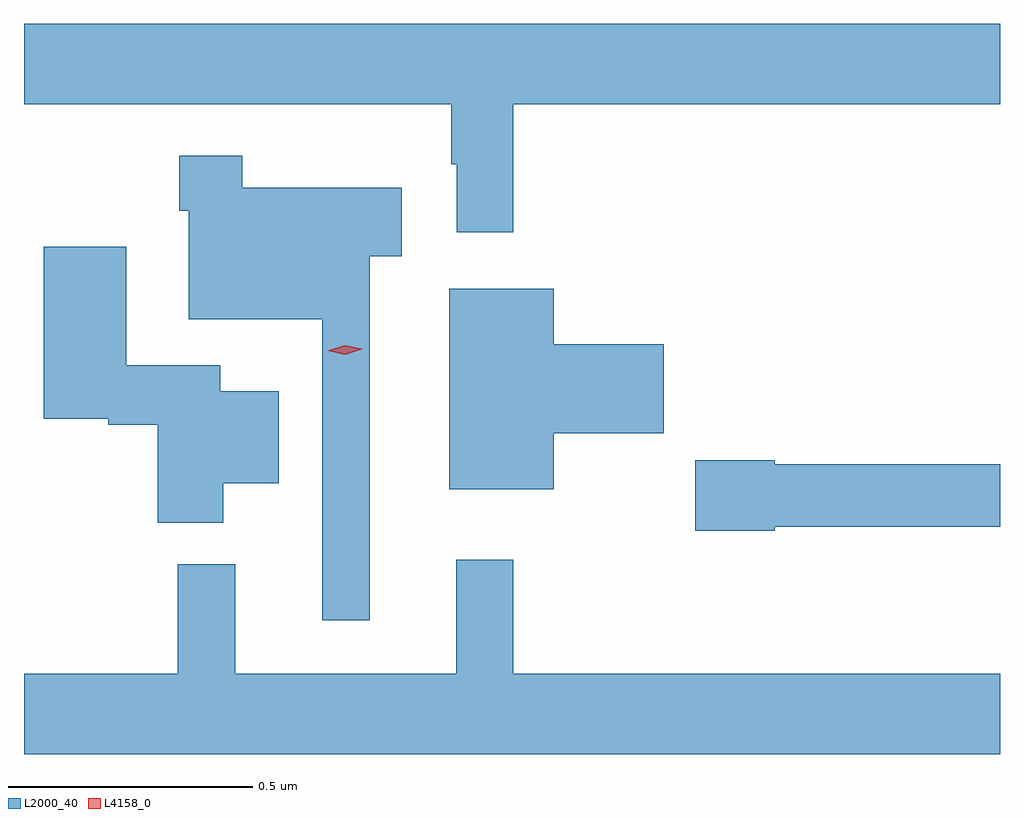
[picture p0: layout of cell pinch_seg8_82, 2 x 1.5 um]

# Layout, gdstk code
import gdstk
lib = gdstk.Library(unit=1e-6, precision=1e-09)
def P(c, l, *ps):  # polygons
    for p in ps: c.add(gdstk.Polygon(p, *l))
L2000_40 = (2000, 40)
L4158_0 = (4158, 0)

pinch_seg8_82 = lib.new_cell('pinch_seg8_82')
P(pinch_seg8_82, L2000_40, [(1017.887,1103.18),(1018.884,1103.18),(1018.884,1103.344),(1016.884,1103.344),(1016.884,1103.18),(1017.759,1103.18),(1017.759,1103.057),(1017.771,1103.057),(1017.771,1102.917),(1017.887,1102.917)],
  [(1017.592,1102.868),(1017.658,1102.868),(1017.658,1103.008),(1017.331,1103.008),(1017.331,1103.074),(1017.202,1103.074),(1017.202,1102.961),(1017.222,1102.961),(1017.222,1102.739),(1017.495,1102.739),(1017.495,1102.122),(1017.592,1102.122)],
  [(1017.292,1102.403),(1017.406,1102.403),(1017.406,1102.591),(1017.286,1102.591),(1017.286,1102.645),(1017.094,1102.645),(1017.094,1102.888),(1016.924,1102.888),(1016.924,1102.535),(1017.057,1102.535),(1017.057,1102.523),(1017.158,1102.523),(1017.158,1102.322),(1017.292,1102.322)],
  [(1017.97,1102.505),(1018.195,1102.505),(1018.195,1102.688),(1017.97,1102.688),(1017.97,1102.801),(1017.755,1102.801),(1017.755,1102.391),(1017.97,1102.391)],
  [(1018.422,1102.314),(1018.884,1102.314),(1018.884,1102.442),(1018.422,1102.442),(1018.422,1102.45),(1018.26,1102.45),(1018.26,1102.306),(1018.422,1102.306)],
  [(1018.884,1102.012),(1017.887,1102.012),(1017.887,1102.246),(1017.77,1102.246),(1017.77,1102.012),(1017.317,1102.012),(1017.317,1102.237),(1017.199,1102.237),(1017.199,1102.012),(1016.884,1102.012),(1016.884,1101.848),(1018.884,1101.848)])
P(pinch_seg8_82, L4158_0, [(1017.542,1102.666),(1017.506,1102.674),(1017.506,1102.674),(1017.506,1102.674),(1017.541,1102.686),(1017.576,1102.678),(1017.577,1102.678),(1017.576,1102.677)])

lib.write_gds('pinch_seg8_82.gds')
